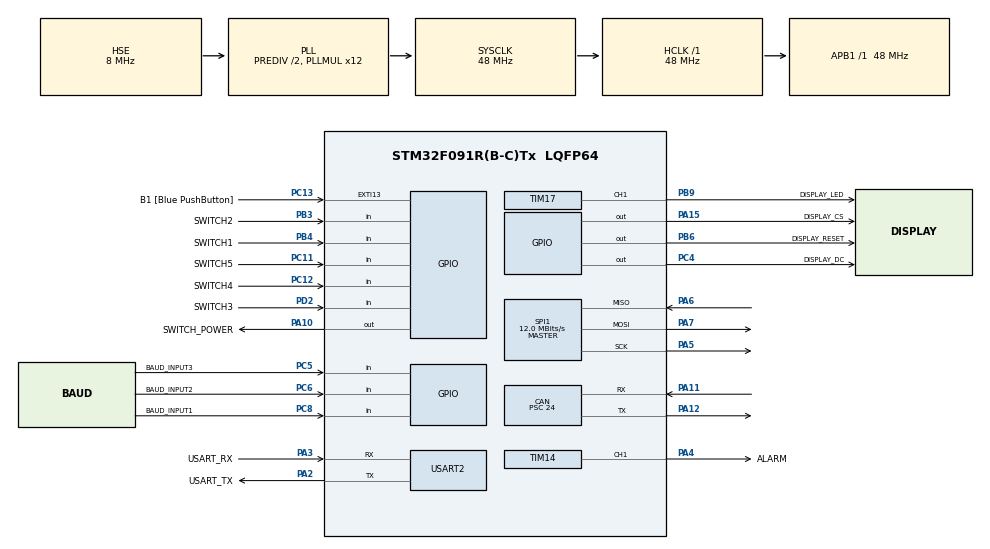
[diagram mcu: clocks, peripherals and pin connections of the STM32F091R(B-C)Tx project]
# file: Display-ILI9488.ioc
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CAN.ABOM=ENABLE
CAN.BS1=CAN_BS1_13TQ
CAN.BS2=CAN_BS2_2TQ
CAN.CalculateBaudRate=125000
CAN.CalculateTimeBit=8000
CAN.CalculateTimeQuantum=500.0
CAN.NART=ENABLE
CAN.Prescaler=24
CAN.SJW=CAN_SJW_1TQ
Dma.Request0=USART2_RX
Dma.Request1=SPI1_TX
Dma.SPI1_TX.1.Direction=DMA_MEMORY_TO_PERIPH
Dma.SPI1_TX.1.Instance=DMA1_Channel3
Dma.SPI1_TX.1.MemDataAlignment=DMA_MDATAALIGN_BYTE
Dma.SPI1_TX.1.MemInc=DMA_MINC_ENABLE
Dma.SPI1_TX.1.Mode=DMA_NORMAL
Dma.SPI1_TX.1.PeriphDataAlignment=DMA_PDATAALIGN_BYTE
Dma.SPI1_TX.1.PeriphInc=DMA_PINC_DISABLE
Dma.SPI1_TX.1.Priority=DMA_PRIORITY_HIGH
Dma.USART2_RX.0.Direction=DMA_PERIPH_TO_MEMORY
Dma.USART2_RX.0.Instance=DMA1_Channel1
Dma.USART2_RX.0.MemDataAlignment=DMA_MDATAALIGN_BYTE
Dma.USART2_RX.0.MemInc=DMA_MINC_ENABLE
Dma.USART2_RX.0.Mode=DMA_NORMAL
Dma.USART2_RX.0.PeriphDataAlignment=DMA_PDATAALIGN_BYTE
Dma.USART2_RX.0.PeriphInc=DMA_PINC_DISABLE
Dma.USART2_RX.0.Priority=DMA_PRIORITY_LOW
Mcu.Family=STM32F0
Mcu.Name=STM32F091R(B-C)Tx
Mcu.Package=LQFP64
NVIC.CEC_CAN_IRQn=true\:1\:0\:true\:false\:true\:true\:true\:true
NVIC.DMA1_Ch1_IRQn=true\:1\:0\:true\:false\:true\:false\:true\:true
NVIC.DMA1_Ch2_3_DMA2_Ch1_2_IRQn=true\:1\:0\:true\:false\:true\:false\:true\:true
NVIC.SPI1_IRQn=true\:1\:0\:true\:false\:true\:true\:true\:true
NVIC.TIM2_IRQn=true\:0\:0\:true\:false\:true\:true\:true\:true
NVIC.USART2_IRQn=true\:0\:0\:true\:false\:true\:true\:true\:true
PA10.GPIO_Label=SWITCH_POWER
PA10.Signal=GPIO_Output
PA11.Mode=CAN_Activate
PA11.Signal=CAN_RX
PA12.Mode=CAN_Activate
PA12.Signal=CAN_TX
PA13.GPIO_Label=TMS
PA13.Mode=Serial_Wire
PA13.Signal=SYS_SWDIO
PA14.GPIO_Label=TCK
PA14.Mode=Serial_Wire
PA14.Signal=SYS_SWCLK
PA15.GPIO_Label=DISPLAY_CS
PA15.Signal=GPIO_Output
PA2.GPIO_Label=USART_TX
PA2.GPIO_Mode=GPIO_MODE_AF_PP
PA2.GPIO_PuPd=GPIO_NOPULL
PA2.GPIO_Speed=GPIO_SPEED_FREQ_LOW
PA2.Mode=Asynchronous
PA2.Signal=USART2_TX
PA3.GPIO_Label=USART_RX
PA3.GPIO_Mode=GPIO_MODE_AF_PP
PA3.GPIO_PuPd=GPIO_NOPULL
PA3.GPIO_Speed=GPIO_SPEED_FREQ_LOW
PA3.Mode=Asynchronous
PA3.Signal=USART2_RX
PA4.GPIO_Label=ALARM
PA4.Signal=S_TIM14_CH1
PA5.Mode=Full_Duplex_Master
PA5.Signal=SPI1_SCK
PA6.Mode=Full_Duplex_Master
PA6.Signal=SPI1_MISO
PA7.Mode=Full_Duplex_Master
PA7.Signal=SPI1_MOSI
PB3.GPIO_Label=SWITCH2
PB3.Signal=GPIO_Input
PB4.GPIO_Label=SWITCH1
PB4.Signal=GPIO_Input
PB6.GPIO_Label=DISPLAY_RESET
PB6.Signal=GPIO_Output
PB9.GPIO_Label=DISPLAY_LED
PB9.Signal=S_TIM17_CH1
PC11.GPIO_Label=SWITCH5
PC11.Signal=GPIO_Input
PC12.GPIO_Label=SWITCH4
PC12.Signal=GPIO_Input
PC13.GPIO_Label=B1 [Blue PushButton]
PC13.GPIO_ModeDefaultEXTI=GPIO_MODE_IT_FALLING
PC13.Signal=GPXTI13
PC14OSC32_IN.Mode=LSE-External-Oscillator
PC14OSC32_IN.Signal=RCC_OSC32_IN
PC15OSC32_OUT.Mode=LSE-External-Oscillator
PC15OSC32_OUT.Signal=RCC_OSC32_OUT
PC4.GPIO_Label=DISPLAY_DC
PC4.Signal=GPIO_Output
PC5.GPIO_Label=BAUD_INPUT3
PC5.Signal=GPIO_Input
PC6.GPIO_Label=BAUD_INPUT2
PC6.Signal=GPIO_Input
PC8.GPIO_Label=BAUD_INPUT1
PC8.Signal=GPIO_Input
PD2.GPIO_Label=SWITCH3
PD2.Signal=GPIO_Input
PF0-OSC_IN.Mode=HSE-External-Clock-Source
PF0-OSC_IN.Signal=RCC_OSC_IN
PF1-OSC_OUT.Signal=RCC_OSC_OUT
ProjectManager.HeapSize=0x200
ProjectManager.StackSize=0x400
ProjectManager.TargetToolchain=STM32CubeIDE
RCC.AHBFreq_Value=48000000
RCC.APB1Freq_Value=48000000
RCC.APB1TimFreq_Value=48000000
RCC.FLatency-AdvancedSettings=FLASH_LATENCY_1
RCC.HCLKFreq_Value=48000000
RCC.PLLDivider=RCC_PREDIV_DIV2
RCC.PLLMUL=RCC_PLL_MUL12
RCC.PLLSourceVirtual=RCC_PLLSOURCE_HSE
RCC.PREFETCH_ENABLE-AdvancedSettings=1
RCC.SYSCLKFreq_VALUE=48000000
RCC.SYSCLKSource=RCC_SYSCLKSOURCE_PLLCLK
SH.S_TIM14_CH1.0=TIM14_CH1,PWM Generation1 CH1
SH.S_TIM17_CH1.0=TIM17_CH1,PWM Generation1 CH1
SPI1.BaudRatePrescaler=SPI_BAUDRATEPRESCALER_4
SPI1.CalculateBaudRate=12.0 MBits/s
SPI1.DataSize=SPI_DATASIZE_8BIT
SPI1.Direction=SPI_DIRECTION_2LINES
SPI1.Mode=SPI_MODE_MASTER
SPI1.NSSPMode=SPI_NSS_PULSE_DISABLE
SPI1.VirtualType=VM_MASTER
TIM14.Channel=TIM_CHANNEL_1
TIM14.Period=3332
TIM14.Prescaler=0
TIM14.Pulse=1667
TIM17.Channel=TIM_CHANNEL_1
TIM17.Period=255
TIM17.Prescaler=39
TIM17.Pulse=128
TIM2.AutoReloadPreload=TIM_AUTORELOAD_PRELOAD_ENABLE
TIM2.Period=99
TIM2.Prescaler=47999
USART2.VirtualMode=VM_ASYNC
USART2.VirtualMode-Asynchronous=VM_ASYNC
VP_IWDG_VS_IWDG.Mode=IWDG_Activate
VP_TIM14_VS_ClockSourceINT.Mode=Enable_Timer
VP_TIM17_VS_ClockSourceINT.Mode=Enable_Timer
VP_TIM2_VS_ClockSourceINT.Mode=Internal
board=NUCLEO-F091RC

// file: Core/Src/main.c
/* USER CODE BEGIN Header */
/**
 ******************************************************************************
 * @file           : main.c
 * @brief          : Main program body
 ******************************************************************************
 * @attention
 *
 * Copyright (c) 2026 STMicroelectronics.
 * All rights reserved.
 *
 * This software is licensed under terms that can be found in the LICENSE file
 * in the root directory of this software component.
 * If no LICENSE file comes with this software, it is provided AS-IS.
 *
 ******************************************************************************
 */
/* USER CODE END Header */
#include "main.h"

/* USER CODE BEGIN Includes */
#include "File_005_ObjNum_004_480x320_6_18_26.h"
#include "File_006_ObjNum_005_480x320_6_18_26_C.h"
#include "File_072_ObjNum_135_480x320_6_18_26.h"
#include "alarm.h"
#include "commands-can.h"
#include "display-ili9488.h"
#include "stm32f0xx_hal.h"
#include "stm32f0xx_hal_def.h"
#include "stm32f0xx_hal_uart.h"
#include "switches.h"

#include <stdio.h>

// image includes

/* USER CODE END Includes */

CAN_HandleTypeDef hcan;

IWDG_HandleTypeDef hiwdg;

SPI_HandleTypeDef hspi1;
DMA_HandleTypeDef hdma_spi1_tx;

TIM_HandleTypeDef htim2;
TIM_HandleTypeDef htim14;
TIM_HandleTypeDef htim17;

UART_HandleTypeDef huart2;
DMA_HandleTypeDef hdma_usart2_rx;

void SystemClock_Config(void);
static void MX_GPIO_Init(void);
static void MX_DMA_Init(void);
static void MX_USART2_UART_Init(void);
static void MX_SPI1_Init(void);
static void MX_CAN_Init(void);
static void MX_TIM2_Init(void);
static void MX_TIM14_Init(void);
static void MX_TIM17_Init(void);
static void MX_IWDG_Init(void);

int main(void) {

  /* MCU Configuration--------------------------------------------------------*/

  /* Reset of all peripherals, Initializes the Flash interface and the Systick.
   */
  HAL_Init();

  /* Configure the system clock */
  SystemClock_Config();

  /* Initialize all configured peripherals */
  MX_GPIO_Init();
  MX_DMA_Init();
  MX_USART2_UART_Init();
  MX_SPI1_Init();
  MX_CAN_Init();
  MX_TIM2_Init();
  MX_TIM14_Init();
  MX_TIM17_Init();
  MX_IWDG_Init();
  /* USER CODE BEGIN 2 */
  // logging message
  HAL_UART_Transmit_IT(&huart2,
                       (uint8_t *)"Configured peripherals, system clock, and "
                                  "HAL layer initialized\n",
                       64);

  // initializing watchdog to 26s for init sequence
  // watchdog clock is 40kHz
  hiwdg.Init.Prescaler = IWDG_PRESCALER_256;
  hiwdg.Init.Reload = 4095;
  HAL_IWDG_Init(&hiwdg);

  // starting alarm pwm timer
  HAL_TIM_PWM_Start(&htim14, TIM_CHANNEL_1);

  // turn off alarm
  ALARM_Disable(&htim14);

  // logging message
  HAL_UART_Transmit(&huart2, (uint8_t *)"Alarm PWM timer started\n", 25,
                    HAL_MAX_DELAY);

  // initializing display, and passing brightness settings to CAN init function
  BrightnessInfo_t brightnessSettings = ILI9488_Init(&hspi1, &htim17);

  // logging message
  HAL_UART_Transmit(&huart2, (uint8_t *)"Display initialized\n", 20,
                    HAL_MAX_DELAY);

  // initializing can interface
  CAN_CMDS_Init(&hcan, &hspi1, &huart2, &htim14, &htim17, brightnessSettings,
                BAUD_INPUT1_GPIO_Port, BAUD_INPUT1_Pin, BAUD_INPUT2_GPIO_Port,
                BAUD_INPUT2_Pin, BAUD_INPUT3_GPIO_Port, BAUD_INPUT3_Pin);

  // logging message
  HAL_UART_Transmit(&huart2, (uint8_t *)"CAN protocol initialized\n", 25,
                    HAL_MAX_DELAY);

  // initializing switches
  SWITCHES_Init(&hcan, &huart2);

  // starting timer for switches interrupt (every 100ms)
  HAL_TIM_Base_Start_IT(&htim2);

  HAL_UART_Transmit(&huart2,
                    (uint8_t *)"Switches interrupt enabled and initialized\n",
                    43, HAL_MAX_DELAY);

  // final logging message
  HAL_UART_Transmit(&huart2,
                    (uint8_t *)"Successfully initialized all interfaces\n", 40,
                    HAL_MAX_DELAY);

  // setting background to black image
  ILI9488_SetBackground(&hspi1, &File_005_ObjNum_004_480x320_6_18_26);

  // --- debugging --- --- --- --- --- --- --- --- --- --- --- --- --- --- ---

  //   for (uint16_t i = 0; i < 149; i++) {
  //     if (objects[i].type == BACKGROUND_OBJ_TYPE) {
  //       HAL_SPIN(ILI9488_SetBackground(&hspi1, objects[i].img));
  //     }
  //   }
  //
  //   HAL_SPIN(ILI9488_SetBackground(&hspi1,
  //   &File_072_ObjNum_135_480x320_6_18_26));
  //
  //   HAL_SPIN(
  //       ILI9488_SetBackground(&hspi1,
  //       &File_006_ObjNum_005_480x320_6_18_26_C));
  //
  //   // loading all smaller images to test placement
  //   for (int i = 0; i < 149; i++) {
  //     if (i != 1 && objects[i].type == IMAGE_OBJ_TYPE &&
  //         objects[i].img->width != ILI9488_WIDTH_PX) {
  //       HAL_SPIN(ILI9488_BlitImage(&hspi1, objects[i].x, objects[i].y,
  //                                  objects[i].img, false
  // #if COLOUR_ENABLED
  //                                  ,
  //                                  objects[i].colour
  //       // COLOR_YELLOW
  // #endif
  //                                  ));
  //     }
  //   }
  //
  //   // loading all text to test placement
  //   for (int i = 0; i < 149; i++) {
  //     if (objects[i].type == TEXT_OBJ_TYPE) {
  //       HAL_SPIN(ILI9488_BlitText(
  //           &hspi1, objects[i].x, objects[i].y, "123456789012345",
  //           (ILI9488_WIDTH_PX - objects[i].x) / CHARWIDTH, false
  // #if COLOUR_ENABLED
  //           ,
  //           objects[i].colour
  //       // COLOR_YELLOW
  // #endif
  //           ));
  //     }
  //   }
  //
  //   HAL_SPIN(ILI9488_BlitText(&hspi1, 8, 10, "gggggg lol", 10, true
  // #if COLOUR_ENABLED
  //                             ,
  //                             COLOR_PURPLE
  // #endif
  //                             ));
  //   HAL_Delay(1000);

  //   HAL_SPIN(ILI9488_BlitText(&hspi1, 0, 5, (uint8_t *)"RED", 3, false
  // #if COLOUR_ENABLED
  //                             ,
  //                             COLOR_RED
  // #endif
  //                             ));
  //
  //   HAL_SPIN(ILI9488_BlitText(&hspi1, 0, 5 + (40 * 1), (uint8_t *)"GREEN", 5,
  //                             false
  // #if COLOUR_ENABLED
  //                             ,
  //                             COLOR_GREEN
  // #endif
  //                             ));
  //
  //   HAL_SPIN(ILI9488_BlitText(&hspi1, 0, 5 + (40 * 2), (uint8_t *)"BLUE", 4,
  //   false
  // #if COLOUR_ENABLED
  //                             ,
  //                             COLOR_BLUE
  // #endif
  //                             ));
  //
  //   HAL_SPIN(ILI9488_BlitText(&hspi1, 0, 5 + (40 * 3), (uint8_t *)"YELLOW",
  //   6,
  //                             false
  // #if COLOUR_ENABLED
  //                             ,
  //                             COLOR_YELLOW
  // #endif
  //                             ));
  //
  //   HAL_SPIN(ILI9488_BlitText(&hspi1, 0, 5 + (40 * 4), (uint8_t *)"CYAN", 4,
  //   false
  // #if COLOUR_ENABLED
  //                             ,
  //                             COLOR_CYAN
  // #endif
  //                             ));
  //
  //   HAL_SPIN(ILI9488_BlitText(&hspi1, 0, 5 + (40 * 5), (uint8_t *)"PURPLE",
  //   6,
  //                             false
  // #if COLOUR_ENABLED
  //                             ,
  //                             COLOR_PURPLE
  // #endif
  //                             ));
  //
  //   HAL_SPIN(ILI9488_BlitText(&hspi1, 0, 5 + (40 * 6), (uint8_t *)"WHITE", 5,
  //                             false
  // #if COLOUR_ENABLED
  //                             ,
  //                             COLOR_WHITE
  // #endif
  //                             ));
  //   HAL_Delay(1000);
  //
  // updating watchdog to 800ms for main loop
  // this value is for a worst case scenario of all background queue and a message limit of 5
  hiwdg.Init.Prescaler = IWDG_PRESCALER_8;
  hiwdg.Init.Reload = 4095;
  HAL_IWDG_Init(&hiwdg); // re-init just updates PR/RLR via 0x5555 unlock

  /* USER CODE END 2 */

  /* Infinite loop */
  while (1) {

    /* USER CODE BEGIN 3 */

    // process received can commands
    CAN_CMDS_Process();

    // processing switch input
    SWITCHES_Process(&hcan);

    // refreshing watchdog
    HAL_IWDG_Refresh(&hiwdg);
  }
  /* USER CODE END 3 */
}

void SystemClock_Config(void) {
  RCC_OscInitTypeDef RCC_OscInitStruct = {0};
  RCC_ClkInitTypeDef RCC_ClkInitStruct = {0};
  RCC_PeriphCLKInitTypeDef PeriphClkInit = {0};

  /** Initializes the RCC Oscillators according to the specified parameters
   * in the RCC_OscInitTypeDef structure.
   */
  RCC_OscInitStruct.OscillatorType =
      RCC_OSCILLATORTYPE_LSI | RCC_OSCILLATORTYPE_HSE;
  RCC_OscInitStruct.HSEState = RCC_HSE_BYPASS;
  RCC_OscInitStruct.LSIState = RCC_LSI_ON;
  RCC_OscInitStruct.PLL.PLLState = RCC_PLL_ON;
  RCC_OscInitStruct.PLL.PLLSource = RCC_PLLSOURCE_HSE;
  RCC_OscInitStruct.PLL.PLLMUL = RCC_PLL_MUL12;
  RCC_OscInitStruct.PLL.PREDIV = RCC_PREDIV_DIV2;
  if (HAL_RCC_OscConfig(&RCC_OscInitStruct) != HAL_OK) {
    Error_Handler();
  }

  /** Initializes the CPU, AHB and APB buses clocks
   */
  RCC_ClkInitStruct.ClockType =
      RCC_CLOCKTYPE_HCLK | RCC_CLOCKTYPE_SYSCLK | RCC_CLOCKTYPE_PCLK1;
  RCC_ClkInitStruct.SYSCLKSource = RCC_SYSCLKSOURCE_PLLCLK;
  RCC_ClkInitStruct.AHBCLKDivider = RCC_SYSCLK_DIV1;
  RCC_ClkInitStruct.APB1CLKDivider = RCC_HCLK_DIV1;

  if (HAL_RCC_ClockConfig(&RCC_ClkInitStruct, FLASH_LATENCY_1) != HAL_OK) {
    Error_Handler();
  }
  PeriphClkInit.PeriphClockSelection = RCC_PERIPHCLK_USART2;
  PeriphClkInit.Usart2ClockSelection = RCC_USART2CLKSOURCE_PCLK1;
  if (HAL_RCCEx_PeriphCLKConfig(&PeriphClkInit) != HAL_OK) {
    Error_Handler();
  }
}

static void MX_CAN_Init(void) {

  hcan.Instance = CAN;
  hcan.Init.Prescaler = 24;
  hcan.Init.Mode = CAN_MODE_NORMAL;
  hcan.Init.SyncJumpWidth = CAN_SJW_1TQ;
  hcan.Init.TimeSeg1 = CAN_BS1_13TQ;
  hcan.Init.TimeSeg2 = CAN_BS2_2TQ;
  hcan.Init.TimeTriggeredMode = DISABLE;
  hcan.Init.AutoBusOff = ENABLE;
  hcan.Init.AutoWakeUp = DISABLE;
  hcan.Init.AutoRetransmission = ENABLE;
  hcan.Init.ReceiveFifoLocked = DISABLE;
  hcan.Init.TransmitFifoPriority = DISABLE;
  if (HAL_CAN_Init(&hcan) != HAL_OK) {
    Error_Handler();
  }
}

static void MX_IWDG_Init(void) {

  hiwdg.Instance = IWDG;
  hiwdg.Init.Prescaler = IWDG_PRESCALER_4;
  hiwdg.Init.Window = 4095;
  hiwdg.Init.Reload = 4095;
  if (HAL_IWDG_Init(&hiwdg) != HAL_OK) {
    Error_Handler();
  }
}

static void MX_SPI1_Init(void) {

  /* SPI1 parameter configuration*/
  hspi1.Instance = SPI1;
  hspi1.Init.Mode = SPI_MODE_MASTER;
  hspi1.Init.Direction = SPI_DIRECTION_2LINES;
  hspi1.Init.DataSize = SPI_DATASIZE_8BIT;
  hspi1.Init.CLKPolarity = SPI_POLARITY_LOW;
  hspi1.Init.CLKPhase = SPI_PHASE_1EDGE;
  hspi1.Init.NSS = SPI_NSS_SOFT;
  hspi1.Init.BaudRatePrescaler = SPI_BAUDRATEPRESCALER_4;
  hspi1.Init.FirstBit = SPI_FIRSTBIT_MSB;
  hspi1.Init.TIMode = SPI_TIMODE_DISABLE;
  hspi1.Init.CRCCalculation = SPI_CRCCALCULATION_DISABLE;
  hspi1.Init.CRCPolynomial = 7;
  hspi1.Init.CRCLength = SPI_CRC_LENGTH_DATASIZE;
  hspi1.Init.NSSPMode = SPI_NSS_PULSE_DISABLE;
  if (HAL_SPI_Init(&hspi1) != HAL_OK) {
    Error_Handler();
  }
}

static void MX_TIM2_Init(void) {

  TIM_ClockConfigTypeDef sClockSourceConfig = {0};
  TIM_MasterConfigTypeDef sMasterConfig = {0};

  htim2.Instance = TIM2;
  htim2.Init.Prescaler = 47999;
  htim2.Init.CounterMode = TIM_COUNTERMODE_UP;
  htim2.Init.Period = 99;
  htim2.Init.ClockDivision = TIM_CLOCKDIVISION_DIV1;
  htim2.Init.AutoReloadPreload = TIM_AUTORELOAD_PRELOAD_ENABLE;
  if (HAL_TIM_Base_Init(&htim2) != HAL_OK) {
    Error_Handler();
  }
  sClockSourceConfig.ClockSource = TIM_CLOCKSOURCE_INTERNAL;
  if (HAL_TIM_ConfigClockSource(&htim2, &sClockSourceConfig) != HAL_OK) {
    Error_Handler();
  }
  sMasterConfig.MasterOutputTrigger = TIM_TRGO_RESET;
  sMasterConfig.MasterSlaveMode = TIM_MASTERSLAVEMODE_DISABLE;
  if (HAL_TIMEx_MasterConfigSynchronization(&htim2, &sMasterConfig) != HAL_OK) {
    Error_Handler();
  }
}

static void MX_TIM14_Init(void) {

  TIM_OC_InitTypeDef sConfigOC = {0};

  htim14.Instance = TIM14;
  htim14.Init.Prescaler = 0;
  htim14.Init.CounterMode = TIM_COUNTERMODE_UP;
  htim14.Init.Period = 3332;
  htim14.Init.ClockDivision = TIM_CLOCKDIVISION_DIV1;
  htim14.Init.AutoReloadPreload = TIM_AUTORELOAD_PRELOAD_DISABLE;
  if (HAL_TIM_Base_Init(&htim14) != HAL_OK) {
    Error_Handler();
  }
  if (HAL_TIM_PWM_Init(&htim14) != HAL_OK) {
    Error_Handler();
  }
  sConfigOC.OCMode = TIM_OCMODE_PWM1;
  sConfigOC.Pulse = 1667;
  sConfigOC.OCPolarity = TIM_OCPOLARITY_HIGH;
  sConfigOC.OCFastMode = TIM_OCFAST_DISABLE;
  if (HAL_TIM_PWM_ConfigChannel(&htim14, &sConfigOC, TIM_CHANNEL_1) != HAL_OK) {
    Error_Handler();
  }
  HAL_TIM_MspPostInit(&htim14);
}

static void MX_TIM17_Init(void) {

  TIM_OC_InitTypeDef sConfigOC = {0};
  TIM_BreakDeadTimeConfigTypeDef sBreakDeadTimeConfig = {0};

  htim17.Instance = TIM17;
  htim17.Init.Prescaler = 39;
  htim17.Init.CounterMode = TIM_COUNTERMODE_UP;
  htim17.Init.Period = 255;
  htim17.Init.ClockDivision = TIM_CLOCKDIVISION_DIV1;
  htim17.Init.RepetitionCounter = 0;
  htim17.Init.AutoReloadPreload = TIM_AUTORELOAD_PRELOAD_DISABLE;
  if (HAL_TIM_Base_Init(&htim17) != HAL_OK) {
    Error_Handler();
  }
  if (HAL_TIM_PWM_Init(&htim17) != HAL_OK) {
    Error_Handler();
  }
  sConfigOC.OCMode = TIM_OCMODE_PWM1;
  sConfigOC.Pulse = 128;
  sConfigOC.OCPolarity = TIM_OCPOLARITY_HIGH;
  sConfigOC.OCNPolarity = TIM_OCNPOLARITY_HIGH;
  sConfigOC.OCFastMode = TIM_OCFAST_DISABLE;
  sConfigOC.OCIdleState = TIM_OCIDLESTATE_RESET;
  sConfigOC.OCNIdleState = TIM_OCNIDLESTATE_RESET;
  if (HAL_TIM_PWM_ConfigChannel(&htim17, &sConfigOC, TIM_CHANNEL_1) != HAL_OK) {
    Error_Handler();
  }
  sBreakDeadTimeConfig.OffStateRunMode = TIM_OSSR_DISABLE;
  sBreakDeadTimeConfig.OffStateIDLEMode = TIM_OSSI_DISABLE;
  sBreakDeadTimeConfig.LockLevel = TIM_LOCKLEVEL_OFF;
  sBreakDeadTimeConfig.DeadTime = 0;
  sBreakDeadTimeConfig.BreakState = TIM_BREAK_DISABLE;
  sBreakDeadTimeConfig.BreakPolarity = TIM_BREAKPOLARITY_HIGH;
  sBreakDeadTimeConfig.AutomaticOutput = TIM_AUTOMATICOUTPUT_DISABLE;
  if (HAL_TIMEx_ConfigBreakDeadTime(&htim17, &sBreakDeadTimeConfig) != HAL_OK) {
    Error_Handler();
  }
  HAL_TIM_MspPostInit(&htim17);
}

static void MX_USART2_UART_Init(void) {

  huart2.Instance = USART2;
  huart2.Init.BaudRate = 115200;
  huart2.Init.WordLength = UART_WORDLENGTH_8B;
  huart2.Init.StopBits = UART_STOPBITS_1;
  huart2.Init.Parity = UART_PARITY_NONE;
  huart2.Init.Mode = UART_MODE_TX_RX;
  huart2.Init.HwFlowCtl = UART_HWCONTROL_NONE;
  huart2.Init.OverSampling = UART_OVERSAMPLING_16;
  huart2.Init.OneBitSampling = UART_ONE_BIT_SAMPLE_DISABLE;
  huart2.AdvancedInit.AdvFeatureInit = UART_ADVFEATURE_NO_INIT;
  if (HAL_UART_Init(&huart2) != HAL_OK) {
    Error_Handler();
  }
}

static void MX_DMA_Init(void) {

  /* DMA controller clock enable */
  __HAL_RCC_DMA1_CLK_ENABLE();

  /* DMA interrupt init */
  /* DMA1_Ch1_IRQn interrupt configuration */
  HAL_NVIC_SetPriority(DMA1_Ch1_IRQn, 1, 0);
  HAL_NVIC_EnableIRQ(DMA1_Ch1_IRQn);
  /* DMA1_Ch2_3_DMA2_Ch1_2_IRQn interrupt configuration */
  HAL_NVIC_SetPriority(DMA1_Ch2_3_DMA2_Ch1_2_IRQn, 1, 0);
  HAL_NVIC_EnableIRQ(DMA1_Ch2_3_DMA2_Ch1_2_IRQn);
}

static void MX_GPIO_Init(void) {
  GPIO_InitTypeDef GPIO_InitStruct = {0};

  /* GPIO Ports Clock Enable */
  __HAL_RCC_GPIOC_CLK_ENABLE();
  __HAL_RCC_GPIOF_CLK_ENABLE();
  __HAL_RCC_GPIOA_CLK_ENABLE();
  __HAL_RCC_GPIOD_CLK_ENABLE();
  __HAL_RCC_GPIOB_CLK_ENABLE();

  /*Configure GPIO pin Output Level */
  HAL_GPIO_WritePin(DISPLAY_DC_GPIO_Port, DISPLAY_DC_Pin, GPIO_PIN_RESET);

  /*Configure GPIO pin Output Level */
  HAL_GPIO_WritePin(GPIOA, SWITCH_POWER_Pin | DISPLAY_CS_Pin, GPIO_PIN_RESET);

  /*Configure GPIO pin Output Level */
  HAL_GPIO_WritePin(DISPLAY_RESET_GPIO_Port, DISPLAY_RESET_Pin, GPIO_PIN_RESET);

  /*Configure GPIO pin : B1_Pin */
  GPIO_InitStruct.Pin = B1_Pin;
  GPIO_InitStruct.Mode = GPIO_MODE_IT_FALLING;
  GPIO_InitStruct.Pull = GPIO_NOPULL;
  HAL_GPIO_Init(B1_GPIO_Port, &GPIO_InitStruct);

  /*Configure GPIO pin : DISPLAY_DC_Pin */
  GPIO_InitStruct.Pin = DISPLAY_DC_Pin;
  GPIO_InitStruct.Mode = GPIO_MODE_OUTPUT_PP;
  GPIO_InitStruct.Pull = GPIO_NOPULL;
  GPIO_InitStruct.Speed = GPIO_SPEED_FREQ_LOW;
  HAL_GPIO_Init(DISPLAY_DC_GPIO_Port, &GPIO_InitStruct);

  /*Configure GPIO pins : BAUD_INPUT3_Pin BAUD_INPUT2_Pin BAUD_INPUT1_Pin
     SWITCH5_Pin SWITCH4_Pin */
  GPIO_InitStruct.Pin = BAUD_INPUT3_Pin | BAUD_INPUT2_Pin | BAUD_INPUT1_Pin |
                        SWITCH5_Pin | SWITCH4_Pin;
  GPIO_InitStruct.Mode = GPIO_MODE_INPUT;
  GPIO_InitStruct.Pull = GPIO_NOPULL;
  HAL_GPIO_Init(GPIOC, &GPIO_InitStruct);

  /*Configure GPIO pins : SWITCH_POWER_Pin DISPLAY_CS_Pin */
  GPIO_InitStruct.Pin = SWITCH_POWER_Pin | DISPLAY_CS_Pin;
  GPIO_InitStruct.Mode = GPIO_MODE_OUTPUT_PP;
  GPIO_InitStruct.Pull = GPIO_NOPULL;
  GPIO_InitStruct.Speed = GPIO_SPEED_FREQ_LOW;
  HAL_GPIO_Init(GPIOA, &GPIO_InitStruct);

  /*Configure GPIO pin : SWITCH3_Pin */
  GPIO_InitStruct.Pin = SWITCH3_Pin;
  GPIO_InitStruct.Mode = GPIO_MODE_INPUT;
  GPIO_InitStruct.Pull = GPIO_NOPULL;
  HAL_GPIO_Init(SWITCH3_GPIO_Port, &GPIO_InitStruct);

  /*Configure GPIO pins : SWITCH2_Pin SWITCH1_Pin */
  GPIO_InitStruct.Pin = SWITCH2_Pin | SWITCH1_Pin;
  GPIO_InitStruct.Mode = GPIO_MODE_INPUT;
  GPIO_InitStruct.Pull = GPIO_NOPULL;
  HAL_GPIO_Init(GPIOB, &GPIO_InitStruct);

  /*Configure GPIO pin : DISPLAY_RESET_Pin */
  GPIO_InitStruct.Pin = DISPLAY_RESET_Pin;
  GPIO_InitStruct.Mode = GPIO_MODE_OUTPUT_PP;
  GPIO_InitStruct.Pull = GPIO_NOPULL;
  GPIO_InitStruct.Speed = GPIO_SPEED_FREQ_LOW;
  HAL_GPIO_Init(DISPLAY_RESET_GPIO_Port, &GPIO_InitStruct);

}

void Error_Handler(void) {
  __disable_irq();
  while (1) {
  }
}
#ifdef USE_FULL_ASSERT
/**
 * @brief  Reports the name of the source file and the source line number
 *         where the assert_param error has occurred.
 * @param  file: pointer to the source file name
 * @param  line: assert_param error line source number
 * @retval None
 */
void assert_failed(uint8_t *file, uint32_t line) {
  /* USER CODE BEGIN 6 */
  /* User can add his own implementation to report the file name and line
     number, ex: printf("Wrong parameters value: file %s on line %d\r\n", file,
     line) */
  /* USER CODE END 6 */
}
#endif /* USE_FULL_ASSERT */
